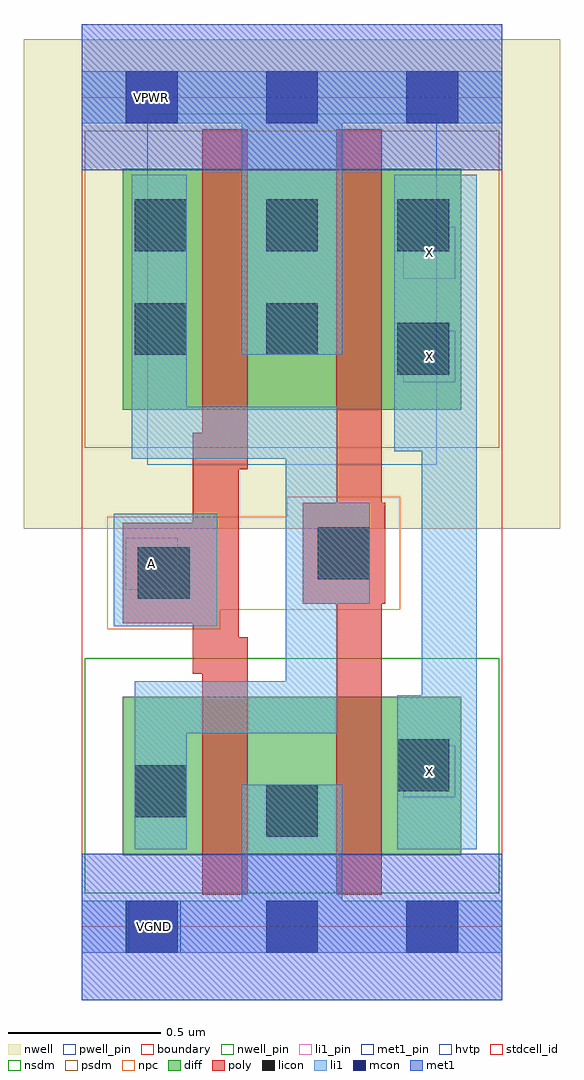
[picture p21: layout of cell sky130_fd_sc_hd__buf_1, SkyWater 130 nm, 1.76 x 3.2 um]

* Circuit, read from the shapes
.subckt sky130_fd_sc_hd__buf_1 A VGND VNB VPB VPWR X
XM1 VGND A n1 VNB sky130_fd_pr__nfet_01v8 w=0.52 l=0.15
XM2 X n1 VGND VNB sky130_fd_pr__nfet_01v8 w=0.52 l=0.15
XM3 VPWR A n1 VPB sky130_fd_pr__pfet_01v8_hvt w=0.79 l=0.15
XM4 X n1 VPWR VPB sky130_fd_pr__pfet_01v8_hvt w=0.79 l=0.15
.ends

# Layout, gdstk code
import gdstk
lib = gdstk.Library(unit=1e-6, precision=1e-09)
def R(c, l, rs):  # rectangles x0, y0, x1, y1
    for r in rs: c.add(gdstk.rectangle(r[:2], r[2:], *l))
def A(c, l, x, y, w, h, nx, ny, dx, dy):  # array of equal rectangles
    R(c, l, [(x+i*dx, y+j*dy, x+i*dx+w, y+j*dy+h) for i in range(nx) for j in range(ny)])
nwell_pin = (64, 16)
nwell = (64, 20)
diff = (65, 20)
poly = (66, 20)
licon = (66, 44)
li1_pin = (67, 16)
li1 = (67, 20)
mcon = (67, 44)
met1_pin = (68, 16)
met1 = (68, 20)
hvtp = (78, 44)
stdcell_id = (81, 4)
nsdm = (93, 44)
psdm = (94, 20)
npc = (95, 20)
pwell_pin = (122, 16)
boundary = (235, 4)

sky130_fd_sc_hd__buf_1 = lib.new_cell('sky130_fd_sc_hd__buf_1')
R(sky130_fd_sc_hd__buf_1, nwell_pin, [(0.145,2.635,0.315,2.805)])
R(sky130_fd_sc_hd__buf_1, nwell, [(-0.19,1.305,1.57,2.91)])
R(sky130_fd_sc_hd__buf_1, diff, [(0.135,0.235,1.245,0.755), (0.135,1.695,1.245,2.485)])
R(sky130_fd_sc_hd__buf_1, poly, [(0.395,0.105,0.545,0.83), (0.835,0.105,0.985,1.06), (0.365,0.83,0.545,0.95), (0.365,0.95,0.515,0.995), (0.135,0.995,0.515,1.325), (0.725,1.06,0.995,1.39), (0.365,1.325,0.515,1.5), (0.835,1.39,0.985,2.615), (0.365,1.5,0.545,1.62), (0.395,1.62,0.545,2.615)])
A(sky130_fd_sc_hd__buf_1, licon, 0.175, 2.215, 0.17, 0.17, 3, 1, 0.43, 0)
R(sky130_fd_sc_hd__buf_1, licon, [(0.605,0.295,0.775,0.465), (0.175,0.36,0.345,0.53), (1.035,0.445,1.205,0.615), (0.185,1.075,0.355,1.245), (0.775,1.14,0.945,1.31), (1.035,1.81,1.205,1.98), (0.175,1.875,0.345,2.045), (0.605,1.875,0.775,2.045)])
R(sky130_fd_sc_hd__buf_1, li1_pin, [(0.155,-0.085,0.325,0.085), (1.055,0.425,1.225,0.595), (0.145,1.105,0.315,1.275), (1.055,1.785,1.225,1.955), (1.055,2.125,1.225,2.295), (0.145,2.635,0.315,2.805)])
R(sky130_fd_sc_hd__buf_1, li1, [(0,-0.085,1.38,0.085), (0.525,0.085,0.855,0.465), (0.175,0.255,0.345,0.635), (1.035,0.255,1.295,0.76), (0.175,0.635,0.84,0.805), (1.115,0.76,1.295,1.56), (0.67,0.805,0.84,1.06), (0.105,0.985,0.445,1.355), (0.67,1.06,0.945,1.39), (0.67,1.39,0.84,1.535), (0.165,1.535,0.84,1.705), (1.025,1.56,1.295,2.465), (0.165,1.705,0.345,2.465), (0.525,1.875,0.855,2.635), (0,2.635,1.38,2.805)])
A(sky130_fd_sc_hd__buf_1, mcon, 0.145, -0.085, 0.17, 0.17, 3, 2, 0.46, 2.72)
R(sky130_fd_sc_hd__buf_1, met1_pin, [(0.155,-0.085,0.325,0.085), (0.145,2.635,0.315,2.805)])
R(sky130_fd_sc_hd__buf_1, met1, [(0,-0.24,1.38,0.24), (0,2.48,1.38,2.96)])
R(sky130_fd_sc_hd__buf_1, hvtp, [(0.215,1.515,1.165,2.665)])
R(sky130_fd_sc_hd__buf_1, stdcell_id, [(0,0,1.38,2.72)])
R(sky130_fd_sc_hd__buf_1, nsdm, [(0.01,0.11,1.37,0.88)])
R(sky130_fd_sc_hd__buf_1, psdm, [(0.01,1.57,1.37,2.61)])
R(sky130_fd_sc_hd__buf_1, npc, [(0.085,0.975,0.455,1.04), (0.085,1.04,1.045,1.345), (0.675,1.345,1.045,1.41)])
R(sky130_fd_sc_hd__buf_1, pwell_pin, [(0.155,-0.085,0.325,0.085)])
R(sky130_fd_sc_hd__buf_1, boundary, [(0,0,1.38,2.72)])
sky130_fd_sc_hd__buf_1.add(gdstk.Label('VGND', (0.24,0), layer=67, texttype=5))
sky130_fd_sc_hd__buf_1.add(gdstk.Label('VGND', (0.24,0), layer=68, texttype=5))
sky130_fd_sc_hd__buf_1.add(gdstk.Label('VPWR', (0.23,2.72), layer=67, texttype=5))
sky130_fd_sc_hd__buf_1.add(gdstk.Label('VPWR', (0.23,2.72), layer=68, texttype=5))
sky130_fd_sc_hd__buf_1.add(gdstk.Label('X', (1.14,2.21), layer=67, texttype=5))
sky130_fd_sc_hd__buf_1.add(gdstk.Label('X', (1.14,1.87), layer=67, texttype=5))
sky130_fd_sc_hd__buf_1.add(gdstk.Label('X', (1.14,0.51), layer=67, texttype=5))
sky130_fd_sc_hd__buf_1.add(gdstk.Label('A', (0.23,1.19), layer=67, texttype=5))
sky130_fd_sc_hd__buf_1.add(gdstk.Label('VPB', (0.23,2.72), layer=64, texttype=5))
sky130_fd_sc_hd__buf_1.add(gdstk.Label('VNB', (0.24,0), layer=64, texttype=59))

lib.write_gds('sky130_fd_sc_hd__buf_1.gds')
